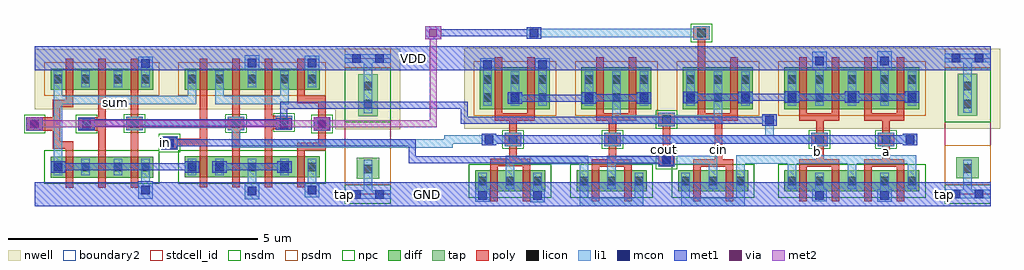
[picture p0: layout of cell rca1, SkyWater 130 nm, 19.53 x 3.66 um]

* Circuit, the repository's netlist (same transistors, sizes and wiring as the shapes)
** sch_path: /home/joyen/ee5311/EE5311/assignments/assignment8/rca1.sch
.subckt rca1 VDD a b cin GND cout sum
*.PININFO VDD:B GND:B a:I sum:O b:I cin:I cout:O
x5 VDD a b cout cin sum GND sum
x6 VDD a b cin cout GND carry
.ends

* expanding   symbol:  sum.sym # of pins=7
** sym_path: /home/joyen/ee5311/EE5311/assignments/assignment8/sum.sym
** sch_path: /home/joyen/ee5311/EE5311/assignments/assignment8/sum.sch
.subckt sum VDD a b coutbar cin sout GND
*.PININFO sout:O a:I VDD:B GND:B b:I coutbar:I cin:I
XM1 sout coutbar net4 GND sky130_fd_pr__nfet_01v8 L=0.15 W=0.42 nf=1
XM2 net1 b VDD VDD sky130_fd_pr__pfet_01v8 L=0.15 W=0.42 nf=1
XM4 sout coutbar net1 VDD sky130_fd_pr__pfet_01v8 L=0.15 W=0.42 nf=1
XM5 net1 a VDD VDD sky130_fd_pr__pfet_01v8 L=0.15 W=0.42 nf=1
XM6 net1 cin VDD VDD sky130_fd_pr__pfet_01v8 L=0.15 W=0.42 nf=1
XM7 net3 a VDD VDD sky130_fd_pr__pfet_01v8 L=0.15 W=0.42 nf=1
XM3 net2 b net3 VDD sky130_fd_pr__pfet_01v8 L=0.15 W=0.42 nf=1
XM8 sout cin net2 VDD sky130_fd_pr__pfet_01v8 L=0.15 W=0.42 nf=1
XM9 net4 a GND GND sky130_fd_pr__nfet_01v8 L=0.15 W=0.42 nf=1
XM10 net4 b GND GND sky130_fd_pr__nfet_01v8 L=0.15 W=0.42 nf=1
XM11 net4 cin GND GND sky130_fd_pr__nfet_01v8 L=0.15 W=0.42 nf=1
XM12 sout cin net6 GND sky130_fd_pr__nfet_01v8 L=0.15 W=0.42 nf=1
XM13 net6 b net5 GND sky130_fd_pr__nfet_01v8 L=0.15 W=0.42 nf=1
XM14 net5 a GND GND sky130_fd_pr__nfet_01v8 L=0.15 W=0.42 nf=1
.ends


* expanding   symbol:  carry.sym # of pins=6
** sym_path: /home/joyen/ee5311/EE5311/assignments/assignment8/carry.sym
** sch_path: /home/joyen/ee5311/EE5311/assignments/assignment8/carry.sch
.subckt carry VDD a b cin cout GND
*.PININFO cout:O a:I VDD:B GND:B b:I cin:I
XM1 cout cin net3 GND sky130_fd_pr__nfet_01v8 L=0.15 W=0.84 nf=2
XM2 net1 b VDD VDD sky130_fd_pr__pfet_01v8 L=0.15 W=1.68 nf=4
XM3 net3 a GND GND sky130_fd_pr__nfet_01v8 L=0.15 W=0.84 nf=2
XM4 cout cin net1 VDD sky130_fd_pr__pfet_01v8 L=0.15 W=1.68 nf=4
XM5 net1 a VDD VDD sky130_fd_pr__pfet_01v8 L=0.15 W=1.68 nf=4
XM6 net2 a VDD VDD sky130_fd_pr__pfet_01v8 L=0.15 W=1.68 nf=4
XM7 cout b net2 VDD sky130_fd_pr__pfet_01v8 L=0.15 W=1.68 nf=4
XM8 net3 b GND GND sky130_fd_pr__nfet_01v8 L=0.15 W=0.84 nf=2
XM9 cout b net4 GND sky130_fd_pr__nfet_01v8 L=0.15 W=0.84 nf=2
XM10 net4 a GND GND sky130_fd_pr__nfet_01v8 L=0.15 W=0.84 nf=2
.ends

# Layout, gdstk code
import gdstk
lib = gdstk.Library(unit=1e-6, precision=1e-09)
def R(c, l, rs):  # rectangles x0, y0, x1, y1
    for r in rs: c.add(gdstk.rectangle(r[:2], r[2:], *l))
def A(c, l, x, y, w, h, nx, ny, dx, dy):  # array of equal rectangles
    R(c, l, [(x+i*dx, y+j*dy, x+i*dx+w, y+j*dy+h) for i in range(nx) for j in range(ny)])
nwell = (64, 20)
diff = (65, 20)
tap = (65, 44)
poly = (66, 20)
licon = (66, 44)
li1 = (67, 20)
mcon = (67, 44)
met1 = (68, 20)
via = (68, 44)
met2 = (69, 20)
stdcell_id = (81, 4)
nsdm = (93, 44)
psdm = (94, 20)
npc = (95, 20)
boundary2 = (236, 0)

rca1 = lib.new_cell('rca1')
A(rca1, nwell, -9.34, -0.045, 2.03, 1.62, 3, 1, 2.03, 0)
R(rca1, nwell, [(-11.915,-0.05,-10.615,1.555), (-3.25,-0.045,0.08,1.575), (0.08,-0.045,1.38,1.56), (-17.925,0.35,-15.245,1.55), (-15.245,0.35,-11.915,1.55)])
A(rca1, diff, -9.12, -1.295, 1.4, 0.42, 3, 1, 2.03, 0)
A(rca1, diff, -9.025, 0.345, 1.4, 0.84, 3, 1, 2.03, 0)
R(rca1, diff, [(-2.935,-1.295,-0.235,-0.875), (-17.61,-1.02,-15.56,-0.6), (-14.93,-1.015,-12.23,-0.595), (-2.935,0.345,-0.235,1.185), (-17.61,0.74,-15.56,1.16), (-14.93,0.74,-12.23,1.16)])
R(rca1, tap, [(-11.49,-1.04,-11.04,-0.62), (0.505,-1.035,0.955,-0.615), (-11.46,0.21,-11.07,1.05), (0.535,0.215,0.925,1.055)])
A(rca1, poly, -2.635, -1.495, 0.15, 0.82, 4, 1, 0.65, 0)
A(rca1, poly, -17.31, -1.22, 0.15, 0.82, 3, 2, 0.65, 1.76)
A(rca1, poly, -14.63, -1.215, 0.15, 0.82, 4, 2, 0.65, 1.755)
A(rca1, poly, -2.635, 0.145, 0.15, 1.24, 4, 1, 0.65, 0)
R(rca1, poly, [(-8.82,-1.495,-8.67,-0.675), (-8.17,-1.495,-8.02,-0.675), (-6.79,-1.495,-6.64,-0.675), (-6.14,-1.495,-5.99,-0.675), (-4.76,-1.495,-4.61,-0.675), (-4.11,-1.495,-3.96,-0.675), (-5.46,-0.8,-5.13,-0.53), (-15.4,-0.46,-15.07,-0.19), (-8.525,-0.39,-8.195,-0.12), (-6.54,-0.39,-6.21,-0.12), (-2.395,-0.39,-2.065,-0.12), (-1.07,-0.39,-0.74,-0.12), (-18.095,-0.08,-17.765,0.19), (-17.06,-0.08,-16.73,0.19), (-12.35,-0.08,-12.02,0.19), (-16.1,-0.07,-15.77,0.2), (-14.07,-0.07,-13.74,0.2), (-13.11,-0.05,-12.78,0.22), (-5.46,0.005,-5.13,0.275), (-8.725,0.145,-8.575,1.385), (-8.075,0.145,-7.925,1.385), (-6.695,0.145,-6.545,1.385), (-6.045,0.145,-5.895,1.385), (-4.665,0.145,-4.515,1.385), (-4.015,0.145,-3.865,1.385), (-4.755,1.74,-4.425,2.01)])
A(rca1, licon, -9.055, -1.17, 0.17, 0.17, 3, 1, 0.55, 0)
A(rca1, licon, -7.025, -1.17, 0.17, 0.17, 3, 1, 0.55, 0)
A(rca1, licon, -4.995, -1.17, 0.17, 0.17, 3, 1, 0.55, 0)
A(rca1, licon, -2.32, -1.17, 0.17, 0.17, 3, 2, 0.65, 1.67)
A(rca1, licon, -14.315, -0.89, 0.17, 0.17, 3, 2, 0.65, 1.755)
A(rca1, licon, -8.96, 0.5, 0.17, 0.17, 3, 2, 0.55, 0.36)
A(rca1, licon, -6.93, 0.5, 0.17, 0.17, 3, 2, 0.55, 0.36)
A(rca1, licon, -4.9, 0.5, 0.17, 0.17, 3, 2, 0.55, 0.36)
A(rca1, licon, -2.32, 0.86, 0.17, 0.17, 3, 1, 0.65, 0)
R(rca1, licon, [(-2.87,-1.17,-2.7,-1), (-0.47,-1.17,-0.3,-1), (-11.35,-0.93,-11.18,-0.76), (0.645,-0.925,0.815,-0.755), (-17.545,-0.895,-17.375,-0.725), (-16.995,-0.895,-16.825,-0.725), (-16.345,-0.895,-16.175,-0.725), (-15.795,-0.895,-15.625,-0.725), (-14.865,-0.89,-14.695,-0.72), (-12.465,-0.89,-12.295,-0.72), (-5.38,-0.75,-5.21,-0.58), (-15.32,-0.41,-15.15,-0.24), (-8.445,-0.34,-8.275,-0.17), (-6.46,-0.34,-6.29,-0.17), (-2.315,-0.34,-2.145,-0.17), (-0.99,-0.34,-0.82,-0.17), (-18.015,-0.03,-17.845,0.14), (-16.98,-0.03,-16.81,0.14), (-12.27,-0.03,-12.1,0.14), (-16.02,-0.02,-15.85,0.15), (-13.99,-0.02,-13.82,0.15), (-13.03,0,-12.86,0.17), (-5.38,0.055,-5.21,0.225), (-11.35,0.365,-11.18,0.535), (0.645,0.37,0.815,0.54), (-2.87,0.5,-2.7,0.67), (-0.47,0.5,-0.3,0.67), (-11.35,0.725,-11.18,0.895), (0.645,0.73,0.815,0.9), (-2.87,0.86,-2.7,1.03), (-0.47,0.86,-0.3,1.03), (-17.545,0.865,-17.375,1.035), (-16.995,0.865,-16.825,1.035), (-16.345,0.865,-16.175,1.035), (-15.795,0.865,-15.625,1.035), (-14.865,0.865,-14.695,1.035), (-12.465,0.865,-12.295,1.035), (-4.675,1.79,-4.505,1.96)])
A(rca1, li1, -9.055, -1.25, 0.17, 0.33, 3, 1, 0.55, 0)
A(rca1, li1, -7.025, -1.25, 0.17, 0.33, 3, 1, 0.55, 0)
A(rca1, li1, -4.995, -1.25, 0.17, 0.33, 3, 1, 0.55, 0)
A(rca1, li1, -2.32, -1.25, 0.17, 0.33, 3, 1, 0.65, 0)
A(rca1, li1, -14.315, -0.97, 0.17, 0.33, 3, 2, 0.65, 1.755)
A(rca1, li1, -8.96, 0.42, 0.17, 0.69, 3, 1, 0.55, 0)
A(rca1, li1, -6.93, 0.42, 0.17, 0.69, 3, 1, 0.55, 0)
A(rca1, li1, -4.9, 0.42, 0.17, 0.69, 3, 1, 0.55, 0)
A(rca1, li1, -2.32, 0.42, 0.17, 0.69, 3, 1, 0.65, 0)
A(rca1, li1, -2.93, 0.475, 0.29, 0.23, 3, 1, 1.2, 0)
R(rca1, li1, [(-8.015,-1.515,-7.725,-1.25), (-9.115,-1.5,-8.825,-1.25), (-1.08,-1.5,-0.79,-1.25), (-2.38,-1.495,-2.09,-1.25), (-13.725,-1.455,-13.435,-1.115), (-15.855,-1.445,-15.565,-1.09), (-11.725,-1.44,-10.805,-1.27), (0.27,-1.435,1.19,-1.265), (-12.525,-1.415,-12.235,-1.115), (-11.35,-1.355,-11.18,-0.665), (0.645,-1.35,0.815,-0.66), (-2.87,-1.25,-2.7,-0.92), (-0.47,-1.25,-0.3,-0.92), (-17.545,-0.975,-17.375,-0.645), (-16.995,-0.975,-16.825,-0.645), (-16.345,-0.975,-16.175,-0.645), (-15.795,-0.975,-15.625,-0.645), (-14.865,-0.97,-14.695,-0.64), (-12.465,-0.97,-12.295,-0.64), (-17.605,-0.925,-17.315,-0.695), (-14.925,-0.92,-14.635,-0.69), (-14.375,-0.92,-14.085,-0.69), (-13.075,-0.92,-12.785,-0.69), (-5.46,-0.8,-5.13,-0.53), (-5.44,-0.78,-5.15,-0.55), (-15.4,-0.46,-15.07,-0.19), (-15.38,-0.44,-15.09,-0.21), (-8.525,-0.39,-8.195,-0.12), (-6.54,-0.39,-6.21,-0.12), (-2.395,-0.39,-2.065,-0.12), (-1.07,-0.39,-0.74,-0.12), (-8.985,-0.37,-8.695,-0.14), (-0.57,-0.37,-0.28,-0.14), (-18.095,-0.08,-17.765,0.19), (-17.06,-0.08,-16.73,0.19), (-12.35,-0.08,-12.02,0.19), (-16.1,-0.07,-15.77,0.2), (-14.07,-0.07,-13.74,0.2), (-18.095,-0.06,-17.765,0.17), (-17.06,-0.06,-16.73,0.17), (-13.11,-0.06,-12.785,0.17), (-12.35,-0.06,-12.02,0.17), (-13.11,-0.05,-12.78,0.22), (-5.46,0.005,-5.13,0.275), (-3.375,0.015,-3.085,0.245), (-11.35,0.27,-11.18,1.365), (0.645,0.275,0.815,1.37), (-2.87,0.42,-2.7,1.11), (-0.47,0.42,-0.3,1.11), (-8.47,0.455,-8.18,0.685), (-6.99,0.455,-6.7,0.685), (-5.89,0.455,-5.6,0.685), (-4.96,0.47,-4.67,0.7), (-3.86,0.47,-3.57,0.7), (-17.545,0.785,-17.375,1.115), (-16.995,0.785,-16.825,1.115), (-16.345,0.785,-16.175,1.115), (-15.795,0.785,-15.625,1.115), (-14.865,0.785,-14.695,1.115), (-12.465,0.785,-12.295,1.115), (-15.855,1.125,-15.565,1.395), (-13.725,1.125,-13.435,1.43), (-12.525,1.125,-12.235,1.42), (-9.02,1.125,-8.73,1.365), (-7.92,1.125,-7.63,1.365), (-2.38,1.125,-2.09,1.5), (-1.08,1.125,-0.79,1.505), (-11.725,1.28,-10.805,1.45), (0.27,1.285,1.19,1.455), (-4.755,1.74,-4.425,2.01), (-8.085,1.76,-7.795,1.99)])
A(rca1, mcon, -2.87, 0.505, 0.17, 0.17, 3, 1, 1.2, 0)
R(rca1, mcon, [(-7.955,-1.465,-7.785,-1.295), (-9.055,-1.46,-8.885,-1.29), (-2.32,-1.46,-2.15,-1.29), (-1.02,-1.46,-0.85,-1.29), (-11.58,-1.44,-11.41,-1.27), (-11.12,-1.44,-10.95,-1.27), (0.415,-1.435,0.585,-1.265), (0.875,-1.435,1.045,-1.265), (-13.665,-1.37,-13.495,-1.2), (-15.795,-1.355,-15.625,-1.185), (-12.465,-1.35,-12.295,-1.18), (-17.545,-0.895,-17.375,-0.725), (-14.865,-0.89,-14.695,-0.72), (-14.315,-0.89,-14.145,-0.72), (-13.015,-0.89,-12.845,-0.72), (-5.38,-0.75,-5.21,-0.58), (-15.32,-0.41,-15.15,-0.24), (-8.925,-0.34,-8.755,-0.17), (-0.51,-0.34,-0.34,-0.17), (-18.015,-0.03,-17.845,0.14), (-16.98,-0.03,-16.81,0.14), (-13.03,-0.03,-12.86,0.14), (-12.27,-0.03,-12.1,0.14), (-3.315,0.045,-3.145,0.215), (-8.41,0.485,-8.24,0.655), (-6.93,0.485,-6.76,0.655), (-5.83,0.485,-5.66,0.655), (-4.9,0.5,-4.73,0.67), (-3.8,0.5,-3.63,0.67), (-8.96,1.16,-8.79,1.33), (-7.86,1.16,-7.69,1.33), (-15.795,1.175,-15.625,1.345), (-12.465,1.185,-12.295,1.355), (-13.665,1.19,-13.495,1.36), (-2.32,1.225,-2.15,1.395), (-1.02,1.23,-0.85,1.4), (-11.58,1.28,-11.41,1.45), (-11.12,1.28,-10.95,1.45), (0.415,1.285,0.585,1.455), (0.875,1.285,1.045,1.455), (-8.025,1.79,-7.855,1.96)])
A(rca1, met1, -2.93, 0.475, 0.29, 0.23, 3, 1, 1.2, 0)
R(rca1, met1, [(-11.725,-1.595,-10.805,-1.115), (0.27,-1.59,1.19,-1.11), (-8.015,-1.515,-7.725,-1.25), (-9.115,-1.5,-8.825,-1.25), (-1.08,-1.5,-0.79,-1.25), (-2.38,-1.495,-2.09,-1.25), (-13.725,-1.455,-13.435,-1.115), (-15.855,-1.445,-15.565,-1.09), (-12.525,-1.415,-12.235,-1.115), (-17.605,-0.925,-17.315,-0.695), (-14.925,-0.92,-14.635,-0.69), (-14.375,-0.92,-14.085,-0.69), (-13.075,-0.92,-12.785,-0.69), (-5.44,-0.78,-5.15,-0.55), (-15.38,-0.44,-15.09,-0.21), (-8.985,-0.37,-8.695,-0.14), (-0.57,-0.37,-0.28,-0.14), (-18.09,-0.075,-17.77,0.185), (-12.345,-0.075,-12.025,0.185), (-18.095,-0.06,-17.765,0.17), (-17.06,-0.06,-16.73,0.17), (-13.11,-0.06,-12.785,0.17), (-12.35,-0.06,-12.02,0.17), (-3.375,0.015,-3.085,0.245), (-8.47,0.455,-8.18,0.685), (-6.99,0.455,-6.7,0.685), (-5.89,0.455,-5.6,0.685), (-4.96,0.47,-4.67,0.7), (-3.86,0.47,-3.57,0.7), (-15.855,1.125,-15.565,1.395), (-13.725,1.125,-13.435,1.43), (-12.525,1.125,-12.235,1.42), (-11.725,1.125,-10.805,1.605), (-9.02,1.125,-8.73,1.365), (-7.92,1.125,-7.63,1.365), (-2.38,1.125,-2.09,1.5), (-1.08,1.125,-0.79,1.505), (0.27,1.13,1.19,1.61), (-10.12,1.745,-9.8,2.005), (-8.085,1.76,-7.795,1.99)])
R(rca1, via, [(-18.005,-0.02,-17.855,0.13), (-12.26,-0.02,-12.11,0.13), (-10.035,1.8,-9.885,1.95)])
R(rca1, met2, [(-18.09,-0.075,-17.77,0.185), (-12.345,-0.075,-12.025,0.185), (-10.12,1.745,-9.8,2.005)])
R(rca1, stdcell_id, [(-11.725,-1.355,-10.805,1.365), (0.27,-1.35,1.19,1.37)])
A(rca1, nsdm, -9.245, -1.42, 1.65, 0.67, 3, 1, 2.03, 0)
R(rca1, nsdm, [(-11.725,-1.545,-10.805,-1.165), (0.27,-1.54,1.19,-1.16), (-3.06,-1.42,-0.11,-0.75), (-17.735,-1.145,-15.435,-0.475), (-15.055,-1.14,-12.105,-0.47), (-11.725,0.085,-10.805,1.175), (0.27,0.09,1.19,1.18)])
A(rca1, psdm, -9.15, 0.22, 1.65, 1.09, 3, 1, 2.03, 0)
R(rca1, psdm, [(-11.725,-1.165,-10.805,-0.38), (0.27,-1.16,1.19,-0.375), (-3.06,0.22,-0.11,1.31), (-17.735,0.615,-15.435,1.285), (-15.055,0.615,-12.105,1.285), (-11.725,1.175,-10.805,1.555), (0.27,1.18,1.19,1.56)])
R(rca1, npc, [(-5.51,-0.85,-5.08,-0.48), (-15.45,-0.51,-15.02,-0.14), (-8.575,-0.44,-8.145,-0.07), (-6.59,-0.44,-6.16,-0.07), (-2.445,-0.44,-2.015,-0.07), (-1.12,-0.44,-0.69,-0.07), (-18.145,-0.13,-17.715,0.24), (-17.11,-0.13,-16.68,0.24), (-12.4,-0.13,-11.97,0.24), (-16.15,-0.12,-15.72,0.25), (-14.12,-0.12,-13.69,0.25), (-13.16,-0.1,-12.73,0.27), (-5.51,-0.045,-5.08,0.325), (-4.805,1.69,-4.375,2.06)])
R(rca1, boundary2, [(-11.725,-1.355,-10.805,1.365), (0.27,-1.35,1.19,1.37)])
rca1.add(gdstk.FlexPath([(-4.59,1.385),(-4.59,1.9)], 0.15, ends="flush", simple_path=True, layer=66, datatype=20))  # poly
rca1.add(gdstk.FlexPath([(-14.63,-0.32),(-15.32,-0.32)], 0.15, ends="flush", simple_path=True, layer=66, datatype=20))  # poly
rca1.add(gdstk.FlexPath([(-0.61,-0.675),(-0.61,-0.65)], 0.15, ends="flush", simple_path=True, layer=66, datatype=20))  # poly
rca1.add(gdstk.FlexPath([(-1.26,-0.675),(-1.26,-0.65)], 0.15, ends="flush", simple_path=True, layer=66, datatype=20))  # poly
rca1.add(gdstk.FlexPath([(-1.185,-0.725),(-0.685,-0.725)], 0.15, ends="flush", simple_path=True, layer=66, datatype=20))  # poly
rca1.add(gdstk.FlexPath([(-1.91,-0.675),(-1.91,-0.65)], 0.15, ends="flush", simple_path=True, layer=66, datatype=20))  # poly
rca1.add(gdstk.FlexPath([(-2.56,-0.675),(-2.56,-0.65)], 0.15, ends="flush", simple_path=True, layer=66, datatype=20))  # poly
rca1.add(gdstk.FlexPath([(-2.485,-0.725),(-1.985,-0.725)], 0.15, ends="flush", simple_path=True, layer=66, datatype=20))  # poly
rca1.add(gdstk.FlexPath([(-4.035,-0.675),(-4.035,-0.65)], 0.15, ends="flush", simple_path=True, layer=66, datatype=20))  # poly
rca1.add(gdstk.FlexPath([(-4.685,-0.675),(-4.685,-0.65)], 0.15, ends="flush", simple_path=True, layer=66, datatype=20))  # poly
rca1.add(gdstk.FlexPath([(-6.065,-0.675),(-6.065,-0.65)], 0.15, ends="flush", simple_path=True, layer=66, datatype=20))  # poly
rca1.add(gdstk.FlexPath([(-6.715,-0.675),(-6.715,-0.65)], 0.15, ends="flush", simple_path=True, layer=66, datatype=20))  # poly
rca1.add(gdstk.FlexPath([(-8.095,-0.675),(-8.095,-0.645)], 0.15, ends="flush", simple_path=True, layer=66, datatype=20))  # poly
rca1.add(gdstk.FlexPath([(-8.745,-0.675),(-8.745,-0.645)], 0.15, ends="flush", simple_path=True, layer=66, datatype=20))  # poly
rca1.add(gdstk.FlexPath([(-4.61,-0.725),(-4.11,-0.725)], 0.15, ends="flush", simple_path=True, layer=66, datatype=20))  # poly
rca1.add(gdstk.FlexPath([(-6.64,-0.725),(-6.14,-0.725)], 0.15, ends="flush", simple_path=True, layer=66, datatype=20))  # poly
rca1.add(gdstk.FlexPath([(-8.67,-0.72),(-8.17,-0.72)], 0.15, ends="flush", simple_path=True, layer=66, datatype=20))  # poly
rca1.add(gdstk.FlexPath([(-0.9,-0.675),(-0.9,0.145)], 0.15, ends="flush", simple_path=True, layer=66, datatype=20))  # poly
rca1.add(gdstk.FlexPath([(-2.225,-0.675),(-2.225,0.145)], 0.15, ends="flush", simple_path=True, layer=66, datatype=20))  # poly
rca1.add(gdstk.FlexPath([(-8.075,0.195),(-8.575,0.195)], 0.15, ends="flush", simple_path=True, layer=66, datatype=20))  # poly
rca1.add(gdstk.FlexPath([(-8,0.145),(-8,0.12)], 0.15, ends="flush", simple_path=True, layer=66, datatype=20))  # poly
rca1.add(gdstk.FlexPath([(-8.65,0.145),(-8.65,0.12)], 0.15, ends="flush", simple_path=True, layer=66, datatype=20))  # poly
rca1.add(gdstk.FlexPath([(-6.045,0.195),(-6.545,0.195)], 0.15, ends="flush", simple_path=True, layer=66, datatype=20))  # poly
rca1.add(gdstk.FlexPath([(-6.62,0.145),(-6.62,0.12)], 0.15, ends="flush", simple_path=True, layer=66, datatype=20))  # poly
rca1.add(gdstk.FlexPath([(-5.97,0.145),(-5.97,0.12)], 0.15, ends="flush", simple_path=True, layer=66, datatype=20))  # poly
rca1.add(gdstk.FlexPath([(-4.015,0.195),(-4.515,0.195)], 0.15, ends="flush", simple_path=True, layer=66, datatype=20))  # poly
rca1.add(gdstk.FlexPath([(-3.94,0.145),(-3.94,0.12)], 0.15, ends="flush", simple_path=True, layer=66, datatype=20))  # poly
rca1.add(gdstk.FlexPath([(-4.59,0.145),(-4.59,0.12)], 0.15, ends="flush", simple_path=True, layer=66, datatype=20))  # poly
rca1.add(gdstk.FlexPath([(-1.985,0.195),(-2.485,0.195)], 0.15, ends="flush", simple_path=True, layer=66, datatype=20))  # poly
rca1.add(gdstk.FlexPath([(-2.56,0.145),(-2.56,0.12)], 0.15, ends="flush", simple_path=True, layer=66, datatype=20))  # poly
rca1.add(gdstk.FlexPath([(-1.91,0.145),(-1.91,0.12)], 0.15, ends="flush", simple_path=True, layer=66, datatype=20))  # poly
rca1.add(gdstk.FlexPath([(-0.685,0.195),(-1.185,0.195)], 0.15, ends="flush", simple_path=True, layer=66, datatype=20))  # poly
rca1.add(gdstk.FlexPath([(-0.61,0.145),(-0.61,0.12)], 0.15, ends="flush", simple_path=True, layer=66, datatype=20))  # poly
rca1.add(gdstk.FlexPath([(-1.26,0.145),(-1.26,0.12)], 0.15, ends="flush", simple_path=True, layer=66, datatype=20))  # poly
rca1.add(gdstk.FlexPath([(-4.255,-0.65),(-4.255,0.145)], 0.15, ends="flush", simple_path=True, layer=66, datatype=20))  # poly
rca1.add(gdstk.FlexPath([(-5.295,0.225),(-5.295,-0.75)], 0.15, ends="flush", simple_path=True, layer=66, datatype=20))  # poly
rca1.add(gdstk.FlexPath([(-6.37,-0.65),(-6.37,0.145)], 0.15, ends="flush", simple_path=True, layer=66, datatype=20))  # poly
rca1.add(gdstk.FlexPath([(-8.36,-0.65),(-8.36,0.145)], 0.15, ends="flush", simple_path=True, layer=66, datatype=20))  # poly
rca1.add(gdstk.FlexPath([(-16.585,0.54),(-16.585,-0.425)], 0.15, ends="flush", simple_path=True, layer=66, datatype=20))  # poly
rca1.add(gdstk.FlexPath([(-15.935,0.54),(-15.935,-0.425)], 0.15, ends="flush", simple_path=True, layer=66, datatype=20))  # poly
rca1.add(gdstk.FlexPath([(-14.555,0.54),(-14.555,-0.395)], 0.15, ends="flush", simple_path=True, layer=66, datatype=20))  # poly
rca1.add(gdstk.FlexPath([(-13.255,0.54),(-13.255,-0.395)], 0.15, ends="flush", simple_path=True, layer=66, datatype=20))  # poly
rca1.add(gdstk.FlexPath([(-17.235,-0.4),(-17.235,-0.365),(-17.49,-0.365),(-17.49,0.465),(-17.16,0.465),(-17.16,0.465)], 0.15, ends="flush", simple_path=True, layer=66, datatype=20))  # poly
rca1.add(gdstk.FlexPath([(-12.68,-0.395),(-12.185,-0.395),(-12.185,0.54),(-12.68,0.54)], 0.15, ends="flush", simple_path=True, layer=66, datatype=20))  # poly
rca1.add(gdstk.FlexPath([(-16.66,0.055),(-17.06,0.055)], 0.27, ends="flush", simple_path=True, layer=66, datatype=20))  # poly
rca1.add(gdstk.FlexPath([(-13.18,0.085),(-12.78,0.085)], 0.27, ends="flush", simple_path=True, layer=66, datatype=20))  # poly
rca1.add(gdstk.FlexPath([(-17.565,0.055),(-18.095,0.055)], 0.27, ends="flush", simple_path=True, layer=66, datatype=20))  # poly
rca1.add(gdstk.FlexPath([(-13.905,0.54),(-13.905,-0.395)], 0.15, ends="flush", simple_path=True, layer=66, datatype=20))  # poly
rca1.add(gdstk.FlexPath([(-3.23,-0.17),(-3.23,0.2)], 0.17, ends="flush", simple_path=True, layer=67, datatype=20))  # li1
rca1.add(gdstk.FlexPath([(-10.075,-0.335),(-9.65,-0.335),(-9.65,-0.255),(-8.265,-0.255)], 0.17, ends="flush", simple_path=True, layer=67, datatype=20))  # li1
rca1.add(gdstk.FlexPath([(-13.905,-0.02),(-13.905,-0.335),(-10.075,-0.335)], 0.17, ends="flush", simple_path=True, layer=67, datatype=20))  # li1
rca1.add(gdstk.FlexPath([(-5.38,-0.665),(-5.21,-0.665)], 0.17, ends="flush", simple_path=True, layer=67, datatype=20))  # li1
rca1.add(gdstk.FlexPath([(-15.32,-0.325),(-15.15,-0.325)], 0.17, ends="flush", simple_path=True, layer=67, datatype=20))  # li1
rca1.add(gdstk.FlexPath([(-17.46,-0.645),(-17.46,0.445)], 0.17, ends="flush", simple_path=True, layer=67, datatype=20))  # li1
rca1.add(gdstk.FlexPath([(-8.025,1.875),(-4.515,1.875)], 0.17, ends="flush", simple_path=True, layer=67, datatype=20))  # li1
rca1.add(gdstk.FlexPath([(-4.36,-0.92),(-4.36,-0.665),(-6.39,-0.665),(-6.39,-0.92)], 0.17, ends="flush", simple_path=True, layer=67, datatype=20))  # li1
rca1.add(gdstk.FlexPath([(-0.935,-1.25),(-0.935,-1.5)], 0.17, ends="flush", simple_path=True, layer=67, datatype=20))  # li1
rca1.add(gdstk.FlexPath([(-0.935,1.11),(-0.935,1.505)], 0.17, ends="flush", simple_path=True, layer=67, datatype=20))  # li1
rca1.add(gdstk.FlexPath([(-4.265,0.42),(-4.265,0.14),(-6.295,0.14),(-6.295,0.42)], 0.17, ends="flush", simple_path=True, layer=67, datatype=20))  # li1
rca1.add(gdstk.FlexPath([(-2.235,1.11),(-2.235,1.5)], 0.17, ends="flush", simple_path=True, layer=67, datatype=20))  # li1
rca1.add(gdstk.FlexPath([(-8.875,1.11),(-8.875,1.365)], 0.17, ends="flush", simple_path=True, layer=67, datatype=20))  # li1
rca1.add(gdstk.FlexPath([(-7.775,1.11),(-7.775,1.365)], 0.17, ends="flush", simple_path=True, layer=67, datatype=20))  # li1
rca1.add(gdstk.FlexPath([(-2.235,-1.25),(-2.235,-1.495)], 0.17, ends="flush", simple_path=True, layer=67, datatype=20))  # li1
rca1.add(gdstk.FlexPath([(-7.87,-1.25),(-7.87,-1.515)], 0.17, ends="flush", simple_path=True, layer=67, datatype=20))  # li1
rca1.add(gdstk.FlexPath([(-8.97,-1.25),(-8.97,-1.5)], 0.17, ends="flush", simple_path=True, layer=67, datatype=20))  # li1
rca1.add(gdstk.FlexPath([(-4.91,-1.25),(-4.91,-1.505),(-3.81,-1.505),(-3.81,-1.25)], 0.17, ends="flush", simple_path=True, layer=67, datatype=20))  # li1
rca1.add(gdstk.FlexPath([(-2.87,-0.66),(-3.81,-0.66),(-3.81,-0.92)], 0.17, ends="flush", simple_path=True, layer=67, datatype=20))  # li1
rca1.add(gdstk.FlexPath([(-0.385,-0.92),(-0.385,-0.66),(-1.585,-0.66),(-1.585,-0.92)], 0.17, ends="flush", simple_path=True, layer=67, datatype=20))  # li1
rca1.add(gdstk.FlexPath([(-1.67,-0.66),(-2.785,-0.66),(-2.785,-0.92)], 0.17, ends="flush", simple_path=True, layer=67, datatype=20))  # li1
rca1.add(gdstk.FlexPath([(-6.94,-0.92),(-6.94,-0.665),(-8.42,-0.665),(-8.42,-0.92)], 0.17, ends="flush", simple_path=True, layer=67, datatype=20))  # li1
rca1.add(gdstk.FlexPath([(-6.94,-1.25),(-6.94,-1.505),(-5.84,-1.505),(-5.84,-1.25)], 0.17, ends="flush", simple_path=True, layer=67, datatype=20))  # li1
rca1.add(gdstk.FlexPath([(-0.99,-0.255),(-0.34,-0.255)], 0.17, ends="flush", simple_path=True, layer=67, datatype=20))  # li1
rca1.add(gdstk.FlexPath([(-6.46,-0.255),(-2.15,-0.255)], 0.17, ends="flush", simple_path=True, layer=67, datatype=20))  # li1
rca1.add(gdstk.FlexPath([(-8.275,-0.255),(-8.935,-0.255)], 0.17, ends="flush", simple_path=True, layer=67, datatype=20))  # li1
rca1.add(gdstk.FlexPath([(-13.58,-0.97),(-13.58,-1.455)], 0.17, ends="flush", simple_path=True, layer=67, datatype=20))  # li1
rca1.add(gdstk.FlexPath([(-15.71,1.115),(-15.71,1.395)], 0.17, ends="flush", simple_path=True, layer=67, datatype=20))  # li1
rca1.add(gdstk.FlexPath([(-12.38,-0.97),(-12.38,-1.415)], 0.17, ends="flush", simple_path=True, layer=67, datatype=20))  # li1
rca1.add(gdstk.FlexPath([(-13.58,1.115),(-13.58,1.43)], 0.17, ends="flush", simple_path=True, layer=67, datatype=20))  # li1
rca1.add(gdstk.FlexPath([(-12.38,1.115),(-12.38,1.42)], 0.17, ends="flush", simple_path=True, layer=67, datatype=20))  # li1
rca1.add(gdstk.FlexPath([(-15.71,-0.975),(-15.71,-1.445)], 0.17, ends="flush", simple_path=True, layer=67, datatype=20))  # li1
rca1.add(gdstk.FlexPath([(-16.82,0.055),(-16.97,0.055)], 0.17, ends="flush", simple_path=True, layer=67, datatype=20))  # li1
rca1.add(gdstk.FlexPath([(-13.02,0.085),(-12.87,0.085)], 0.17, ends="flush", simple_path=True, layer=67, datatype=20))  # li1
rca1.add(gdstk.FlexPath([(-14.78,0.785),(-14.78,0.53),(-17.46,0.53),(-17.46,0.785)], 0.17, ends="flush", simple_path=True, layer=67, datatype=20))  # li1
rca1.add(gdstk.FlexPath([(-12.93,0.785),(-12.93,0.53),(-14.23,0.53),(-14.23,0.785)], 0.17, ends="flush", simple_path=True, layer=67, datatype=20))  # li1
rca1.add(gdstk.FlexPath([(-17.855,0.055),(-18.005,0.055)], 0.17, ends="flush", simple_path=True, layer=67, datatype=20))  # li1
rca1.add(gdstk.FlexPath([(-16.01,0.065),(-13.83,0.065)], 0.17, ends="flush", simple_path=True, layer=67, datatype=20))  # li1
rca1.add(gdstk.FlexPath([(-12.11,0.055),(-12.26,0.055)], 0.17, ends="flush", simple_path=True, layer=67, datatype=20))  # li1
rca1.add(gdstk.FlexPath([(-9.54,0.43),(-9.34,0.43),(-9.34,0.13),(-3.145,0.13)], 0.14, ends="flush", simple_path=True, layer=68, datatype=20))  # met1
rca1.add(gdstk.FlexPath([(-5.21,-0.665),(-10.305,-0.665)], 0.14, ends="flush", simple_path=True, layer=68, datatype=20))  # met1
rca1.add(gdstk.FlexPath([(-15.32,-0.325),(-10.375,-0.325),(-10.375,-0.735)], 0.14, ends="flush", simple_path=True, layer=68, datatype=20))  # met1
rca1.add(gdstk.FlexPath([(-14.695,-0.805),(-17.545,-0.805)], 0.14, ends="flush", simple_path=True, layer=68, datatype=20))  # met1
rca1.add(gdstk.FlexPath([(-12.945,0.145),(-12.945,0.43),(-9.54,0.43)], 0.14, ends="flush", simple_path=True, layer=68, datatype=20))  # met1
rca1.add(gdstk.FlexPath([(-14.315,-0.805),(-12.845,-0.805)], 0.14, ends="flush", simple_path=True, layer=68, datatype=20))  # met1
rca1.add(gdstk.FlexPath([(-10.03,1.875),(-7.865,1.875)], 0.14, ends="flush", simple_path=True, layer=68, datatype=20))  # met1
rca1.add(gdstk.FlexPath([(-3.63,0.585),(-4.9,0.585)], 0.14, ends="flush", simple_path=True, layer=68, datatype=20))  # met1
rca1.add(gdstk.FlexPath([(-3.63,0.59),(-0.3,0.59)], 0.14, ends="flush", simple_path=True, layer=68, datatype=20))  # met1
rca1.add(gdstk.FlexPath([(0.27,1.365),(-8.885,1.365),(-10.805,1.365)], 0.48, ends="flush", simple_path=True, layer=68, datatype=20))  # met1
rca1.add(gdstk.FlexPath([(0.27,-1.355),(-10.805,-1.355)], 0.48, ends="flush", simple_path=True, layer=68, datatype=20))  # met1
rca1.add(gdstk.FlexPath([(-6.93,0.575),(-5.66,0.575)], 0.14, ends="flush", simple_path=True, layer=68, datatype=20))  # met1
rca1.add(gdstk.FlexPath([(-6.76,0.57),(-8.41,0.57)], 0.14, ends="flush", simple_path=True, layer=68, datatype=20))  # met1
rca1.add(gdstk.FlexPath([(-0.34,-0.255),(-8.935,-0.255)], 0.17, ends="flush", simple_path=True, layer=68, datatype=20))  # met1
rca1.add(gdstk.FlexPath([(-11.675,-1.355),(-17.925,-1.355)], 0.48, ends="flush", simple_path=True, layer=68, datatype=20))  # met1
rca1.add(gdstk.FlexPath([(-11.725,1.365),(-17.925,1.365)], 0.48, ends="flush", simple_path=True, layer=68, datatype=20))  # met1
rca1.add(gdstk.FlexPath([(-17.06,0.075),(-12.785,0.075)], 0.14, ends="flush", simple_path=True, layer=68, datatype=20))  # met1
rca1.add(gdstk.FlexPath([(-10.085,0.06),(-9.96,0.06),(-9.96,1.95)], 0.14, ends="flush", simple_path=True, layer=69, datatype=20))  # met2
rca1.add(gdstk.FlexPath([(-12.11,0.06),(-10.085,0.06)], 0.14, ends="flush", simple_path=True, layer=69, datatype=20))  # met2
rca1.add(gdstk.FlexPath([(-18.015,0.055),(-12.11,0.055)], 0.14, ends="flush", simple_path=True, layer=69, datatype=20))  # met2
rca1.add(gdstk.Label('in', (-15.32,-0.325), layer=67, texttype=20))
rca1.add(gdstk.Label('tap', (0.27,-1.35), layer=83, texttype=44))
rca1.add(gdstk.Label('tap', (-11.725,-1.355), layer=83, texttype=44))
rca1.add(gdstk.Label('cout', (-5.33,-0.46), layer=66, texttype=5))
rca1.add(gdstk.Label('cin', (-4.255,-0.46), layer=66, texttype=5))
rca1.add(gdstk.Label('b', (-2.27,-0.49), layer=66, texttype=5))
rca1.add(gdstk.Label('a', (-0.9,-0.49), layer=66, texttype=5))
rca1.add(gdstk.Label('sum', (-16.32,0.48), layer=67, texttype=5))
rca1.add(gdstk.Label('GND', (-10.07,-1.355), layer=68, texttype=5))
rca1.add(gdstk.Label('VDD', (-10.345,1.365), layer=68, texttype=5))

lib.write_gds('rca1.gds')
